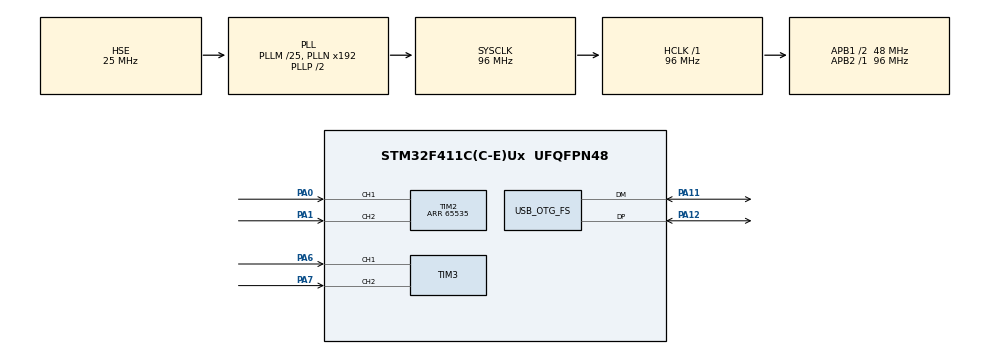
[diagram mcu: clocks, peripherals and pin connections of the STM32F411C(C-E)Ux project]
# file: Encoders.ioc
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Mcu.Family=STM32F4
Mcu.Name=STM32F411C(C-E)Ux
Mcu.Package=UFQFPN48
NVIC.OTG_FS_IRQn=true\:0\:0\:false\:false\:true\:false\:true
NVIC.PriorityGroup=NVIC_PRIORITYGROUP_4
PA0-WKUP.GPIO_PuPd=GPIO_NOPULL
PA0-WKUP.Signal=S_TIM2_CH1_ETR
PA1.GPIO_PuPd=GPIO_NOPULL
PA1.Signal=S_TIM2_CH2
PA11.Mode=Device_Only
PA11.Signal=USB_OTG_FS_DM
PA12.Mode=Device_Only
PA12.Signal=USB_OTG_FS_DP
PA6.GPIO_PuPd=GPIO_NOPULL
PA6.Signal=S_TIM3_CH1
PA7.GPIO_PuPd=GPIO_NOPULL
PA7.Signal=S_TIM3_CH2
PH0\ -\ OSC_IN.Mode=HSE-External-Oscillator
PH0\ -\ OSC_IN.Signal=RCC_OSC_IN
PH1\ -\ OSC_OUT.Mode=HSE-External-Oscillator
PH1\ -\ OSC_OUT.Signal=RCC_OSC_OUT
ProjectManager.HeapSize=0x200
ProjectManager.StackSize=0x400
ProjectManager.TargetToolchain=STM32CubeIDE
RCC.48MHZClocksFreq_Value=48000000
RCC.AHBFreq_Value=96000000
RCC.APB1CLKDivider=RCC_HCLK_DIV2
RCC.APB1Freq_Value=48000000
RCC.APB1TimFreq_Value=96000000
RCC.APB2Freq_Value=96000000
RCC.APB2TimFreq_Value=96000000
RCC.CortexFreq_Value=96000000
RCC.HCLKFreq_Value=96000000
RCC.HSE_VALUE=25000000
RCC.HSI_VALUE=16000000
RCC.LSE_VALUE=32768
RCC.PLLM=25
RCC.SYSCLKFreq_VALUE=96000000
RCC.SYSCLKSource=RCC_SYSCLKSOURCE_PLLCLK
RCC.VCOOutputFreq_Value=192000000
SH.S_TIM2_CH1_ETR.0=TIM2_CH1,Encoder_Interface
SH.S_TIM2_CH2.0=TIM2_CH2,Encoder_Interface
SH.S_TIM3_CH1.0=TIM3_CH1,Encoder_Interface
SH.S_TIM3_CH2.0=TIM3_CH2,Encoder_Interface
TIM2.EncoderMode=TIM_ENCODERMODE_TI12
TIM2.Period=65535
TIM3.EncoderMode=TIM_ENCODERMODE_TI12
USB_DEVICE.CLASS_NAME_FS=CDC
USB_DEVICE.VirtualMode=Cdc
USB_DEVICE.VirtualModeFS=Cdc_FS
USB_OTG_FS.VirtualMode=Device_Only
VP_USB_DEVICE_VS_USB_DEVICE_CDC_FS.Mode=CDC_FS
board=custom

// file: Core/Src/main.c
/* USER CODE BEGIN Header */
/**
  ******************************************************************************
  * @file           : main.c
  * @brief          : Main program body
  ******************************************************************************
  * @attention
  *
  * <h2><center>&copy; Copyright (c) 2021 STMicroelectronics.
  * All rights reserved.</center></h2>
  *
  * This software component is licensed by ST under BSD 3-Clause license,
  * the "License"; You may not use this file except in compliance with the
  * License. You may obtain a copy of the License at:
  *                        opensource.org/licenses/BSD-3-Clause
  *
  ******************************************************************************
  */
/* USER CODE END Header */
#include "main.h"
#include "usb_device.h"

/* USER CODE BEGIN Includes */

#include "usbd_cdc_if.h"

/* USER CODE END Includes */

TIM_HandleTypeDef htim2;
TIM_HandleTypeDef htim3;

void SystemClock_Config(void);
static void MX_GPIO_Init(void);
static void MX_TIM2_Init(void);
static void MX_TIM3_Init(void);

/* USER CODE BEGIN 0 */

uint8_t msg[1024];

void cdc_printf(const char * fmt, ...){
	// Make a simple function to print to usb
	va_list args;
	va_start(args, fmt);
    vsprintf((char *)msg, fmt, args);
	va_end(args);
	CDC_Transmit_FS(msg, strlen((char *)msg));
	HAL_Delay(10); // We need to add a little delay or else the data buffer gets overwritten
}

/* USER CODE END 0 */

int main(void)
{

  /* MCU Configuration--------------------------------------------------------*/

  /* Reset of all peripherals, Initializes the Flash interface and the Systick. */
  HAL_Init();

  /* Configure the system clock */
  SystemClock_Config();

  /* Initialize all configured peripherals */
  MX_GPIO_Init();
  MX_TIM2_Init();
  MX_TIM3_Init();
  MX_USB_DEVICE_Init();

  /* USER CODE BEGIN 2 */
  HAL_TIM_Encoder_Start(&htim2, TIM_CHANNEL_ALL);
  HAL_TIM_Encoder_Start(&htim3, TIM_CHANNEL_ALL);

  /* USER CODE END 2 */

  /* Infinite loop */
  while (1)
  {

    /* USER CODE BEGIN 3 */

	  switch (Status) {
	  	case PRINT_CNT:
	  		cdc_printf("Encoder Counts | L: %d\r\n | R: %d\r\n", (TIM2->CNT), (TIM3->CNT));
	  		break;

	  	case NO_PRINT:
	  		break;
	  }
  }

  /* USER CODE END 3 */
}

void SystemClock_Config(void)
{
  RCC_OscInitTypeDef RCC_OscInitStruct = {0};
  RCC_ClkInitTypeDef RCC_ClkInitStruct = {0};

  /** Configure the main internal regulator output voltage
  */
  __HAL_RCC_PWR_CLK_ENABLE();
  __HAL_PWR_VOLTAGESCALING_CONFIG(PWR_REGULATOR_VOLTAGE_SCALE1);
  /** Initializes the RCC Oscillators according to the specified parameters
  * in the RCC_OscInitTypeDef structure.
  */
  RCC_OscInitStruct.OscillatorType = RCC_OSCILLATORTYPE_HSE;
  RCC_OscInitStruct.HSEState = RCC_HSE_ON;
  RCC_OscInitStruct.PLL.PLLState = RCC_PLL_ON;
  RCC_OscInitStruct.PLL.PLLSource = RCC_PLLSOURCE_HSE;
  RCC_OscInitStruct.PLL.PLLM = 25;
  RCC_OscInitStruct.PLL.PLLN = 192;
  RCC_OscInitStruct.PLL.PLLP = RCC_PLLP_DIV2;
  RCC_OscInitStruct.PLL.PLLQ = 4;
  if (HAL_RCC_OscConfig(&RCC_OscInitStruct) != HAL_OK)
  {
    Error_Handler();
  }
  /** Initializes the CPU, AHB and APB buses clocks
  */
  RCC_ClkInitStruct.ClockType = RCC_CLOCKTYPE_HCLK|RCC_CLOCKTYPE_SYSCLK
                              |RCC_CLOCKTYPE_PCLK1|RCC_CLOCKTYPE_PCLK2;
  RCC_ClkInitStruct.SYSCLKSource = RCC_SYSCLKSOURCE_PLLCLK;
  RCC_ClkInitStruct.AHBCLKDivider = RCC_SYSCLK_DIV1;
  RCC_ClkInitStruct.APB1CLKDivider = RCC_HCLK_DIV2;
  RCC_ClkInitStruct.APB2CLKDivider = RCC_HCLK_DIV1;

  if (HAL_RCC_ClockConfig(&RCC_ClkInitStruct, FLASH_LATENCY_3) != HAL_OK)
  {
    Error_Handler();
  }
}

static void MX_TIM2_Init(void)
{

  TIM_Encoder_InitTypeDef sConfig = {0};
  TIM_MasterConfigTypeDef sMasterConfig = {0};

  htim2.Instance = TIM2;
  htim2.Init.Prescaler = 0;
  htim2.Init.CounterMode = TIM_COUNTERMODE_UP;
  htim2.Init.Period = 65535;
  htim2.Init.ClockDivision = TIM_CLOCKDIVISION_DIV1;
  htim2.Init.AutoReloadPreload = TIM_AUTORELOAD_PRELOAD_DISABLE;
  sConfig.EncoderMode = TIM_ENCODERMODE_TI12;
  sConfig.IC1Polarity = TIM_ICPOLARITY_RISING;
  sConfig.IC1Selection = TIM_ICSELECTION_DIRECTTI;
  sConfig.IC1Prescaler = TIM_ICPSC_DIV1;
  sConfig.IC1Filter = 0;
  sConfig.IC2Polarity = TIM_ICPOLARITY_RISING;
  sConfig.IC2Selection = TIM_ICSELECTION_DIRECTTI;
  sConfig.IC2Prescaler = TIM_ICPSC_DIV1;
  sConfig.IC2Filter = 0;
  if (HAL_TIM_Encoder_Init(&htim2, &sConfig) != HAL_OK)
  {
    Error_Handler();
  }
  sMasterConfig.MasterOutputTrigger = TIM_TRGO_RESET;
  sMasterConfig.MasterSlaveMode = TIM_MASTERSLAVEMODE_DISABLE;
  if (HAL_TIMEx_MasterConfigSynchronization(&htim2, &sMasterConfig) != HAL_OK)
  {
    Error_Handler();
  }

}

static void MX_TIM3_Init(void)
{

  TIM_Encoder_InitTypeDef sConfig = {0};
  TIM_MasterConfigTypeDef sMasterConfig = {0};

  htim3.Instance = TIM3;
  htim3.Init.Prescaler = 0;
  htim3.Init.CounterMode = TIM_COUNTERMODE_UP;
  htim3.Init.Period = 65535;
  htim3.Init.ClockDivision = TIM_CLOCKDIVISION_DIV1;
  htim3.Init.AutoReloadPreload = TIM_AUTORELOAD_PRELOAD_DISABLE;
  sConfig.EncoderMode = TIM_ENCODERMODE_TI12;
  sConfig.IC1Polarity = TIM_ICPOLARITY_RISING;
  sConfig.IC1Selection = TIM_ICSELECTION_DIRECTTI;
  sConfig.IC1Prescaler = TIM_ICPSC_DIV1;
  sConfig.IC1Filter = 0;
  sConfig.IC2Polarity = TIM_ICPOLARITY_RISING;
  sConfig.IC2Selection = TIM_ICSELECTION_DIRECTTI;
  sConfig.IC2Prescaler = TIM_ICPSC_DIV1;
  sConfig.IC2Filter = 0;
  if (HAL_TIM_Encoder_Init(&htim3, &sConfig) != HAL_OK)
  {
    Error_Handler();
  }
  sMasterConfig.MasterOutputTrigger = TIM_TRGO_RESET;
  sMasterConfig.MasterSlaveMode = TIM_MASTERSLAVEMODE_DISABLE;
  if (HAL_TIMEx_MasterConfigSynchronization(&htim3, &sMasterConfig) != HAL_OK)
  {
    Error_Handler();
  }

}

static void MX_GPIO_Init(void)
{

  /* GPIO Ports Clock Enable */
  __HAL_RCC_GPIOH_CLK_ENABLE();
  __HAL_RCC_GPIOA_CLK_ENABLE();

}

void Error_Handler(void)
{
  __disable_irq();
  while (1)
  {
  }
}

/************************ (C) COPYRIGHT STMicroelectronics *****END OF FILE****/
